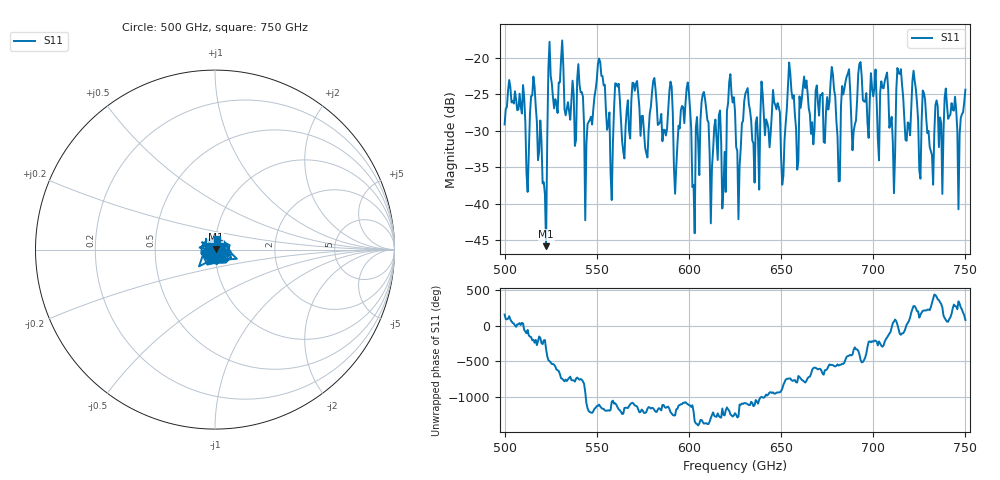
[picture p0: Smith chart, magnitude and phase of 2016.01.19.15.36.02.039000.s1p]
!Created with skrf (http://scikit-rf.org).
# GHz S RI R 50.0
!freq ReS11 ImS11
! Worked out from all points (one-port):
!   401 points, 500 GHz to 750 GHz, reference 50 ohm
!   lowest |S11| = -45.8 dB at 522.5 GHz (marker M1), VSWR 1.01, Z = 50.4 + j0.301 ohm
!   |S11| at or under -10 dB: start of sweep to end of sweep
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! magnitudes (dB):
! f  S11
! 500 GHz  -29.1
! 512.5 GHz  -38.4
! 515.6 GHz  -22.6
! 522.5 GHz  -45.8
! 525 GHz  -22.5
! 531.2 GHz  -17.6
! 544.4 GHz  -31.8
! 551.2 GHz  -20.1
! 557.5 GHz  -35.9
! 562.5 GHz  -25.6
! 590 GHz  -23.3
! 593.8 GHz  -31.9
! 599.4 GHz  -23.4
! 602.5 GHz  -37.4
! 608.1 GHz  -24.7
! 618.8 GHz  -38.0
! 621.9 GHz  -23.3
! 625 GHz  -27.3
! 626.9 GHz  -42.1
! 646.9 GHz  -26.5
! 651.2 GHz  -36.2
! 656.2 GHz  -25.6
! 687.5 GHz  -24.5
! 706.9 GHz  -22.6
! 710.6 GHz  -31.6
! 714.4 GHz  -22.2
! 718.8 GHz  -28.8
! 750 GHz  -24.4
